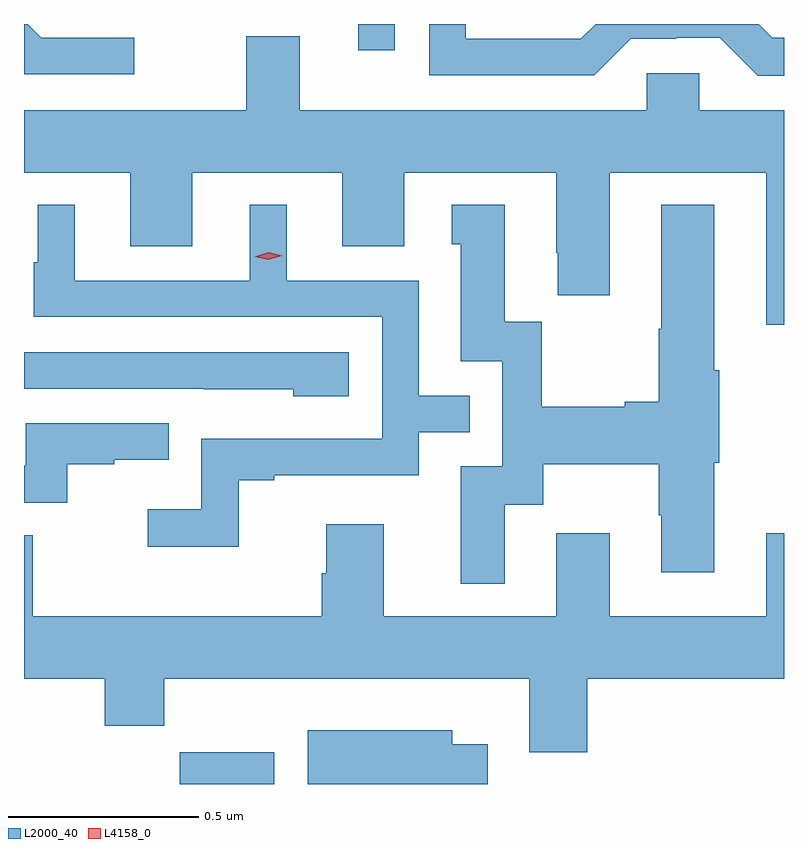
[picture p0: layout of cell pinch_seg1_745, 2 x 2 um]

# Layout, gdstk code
import gdstk
lib = gdstk.Library(unit=1e-6, precision=1e-09)
def R(c, l, rs):  # rectangles x0, y0, x1, y1
    for r in rs: c.add(gdstk.rectangle(r[:2], r[2:], *l))
def P(c, l, *ps):  # polygons
    for p in ps: c.add(gdstk.Polygon(p, *l))
L2000_40 = (2000, 40)
L4158_0 = (4158, 0)

pinch_seg1_745 = lib.new_cell('pinch_seg1_745')
R(pinch_seg1_745, L2000_40, [(670.612,526.147,670.861,526.23), (671.081,528.078,671.177,528.147)])
P(pinch_seg1_745, L2000_40, [(670.492,528.111),(670.248,528.111),(670.212,528.147),(670.202,528.147),(670.202,528.015),(670.492,528.015)],
  [(672.202,528.111),(672.171,528.111),(672.135,528.147),(671.706,528.147),(671.667,528.108),(671.364,528.108),(671.364,528.147),(671.268,528.147),(671.268,528.012),(671.703,528.012),(671.799,528.108),(671.918,528.108),(671.918,528.111),(672.033,528.111),(672.133,528.011),(672.202,528.011)],
  [(672.202,527.92),(671.979,527.92),(671.979,528.018),(671.841,528.018),(671.841,527.92),(670.927,527.92),(670.927,528.115),(670.787,528.115),(670.787,527.92),(670.202,527.92),(670.202,527.756),(670.481,527.756),(670.481,527.562),(670.645,527.562),(670.645,527.756),(671.039,527.756),(671.039,527.562),(671.203,527.562),(671.203,527.756),(671.603,527.756),(671.603,527.545),(671.606,527.545),(671.606,527.433),(671.743,527.433),(671.743,527.756),(672.155,527.756),(672.155,527.355),(672.202,527.355)],
  [(670.767,526.947),(670.861,526.947),(670.861,526.959),(671.241,526.959),(671.241,527.073),(671.375,527.073),(671.375,527.169),(671.241,527.169),(671.241,527.472),(670.894,527.472),(670.894,527.671),(670.796,527.671),(670.796,527.472),(670.336,527.472),(670.336,527.671),(670.238,527.671),(670.238,527.52),(670.227,527.52),(670.227,527.376),(671.145,527.376),(671.145,527.055),(670.668,527.055),(670.668,526.87),(670.527,526.87),(670.527,526.772),(670.767,526.772)],
  [(671.467,526.882),(671.569,526.882),(671.569,526.988),(671.872,526.988),(671.872,526.854),(671.879,526.854),(671.879,526.704),(672.019,526.704),(672.019,526.992),(672.032,526.992),(672.032,527.236),(672.019,527.236),(672.019,527.671),(671.879,527.671),(671.879,527.345),(671.872,527.345),(671.872,527.153),(671.783,527.153),(671.783,527.14),(671.565,527.14),(671.565,527.363),(671.467,527.363),(671.467,527.671),(671.327,527.671),(671.327,527.568),(671.351,527.568),(671.351,527.259),(671.46,527.259),(671.46,526.983),(671.351,526.983),(671.351,526.674),(671.467,526.674)],
  [(671.056,527.283),(670.202,527.283),(670.202,527.187),(670.675,527.187),(670.675,527.186),(670.911,527.186),(670.911,527.168),(671.056,527.168)],
  [(670.316,526.989),(670.439,526.989),(670.439,527),(670.583,527),(670.583,527.097),(670.206,527.097),(670.206,526.985),(670.202,526.985),(670.202,526.887),(670.316,526.887)],
  [(671.684,526.424),(672.202,526.424),(672.202,526.807),(672.155,526.807),(672.155,526.588),(671.743,526.588),(671.743,526.807),(671.603,526.807),(671.603,526.588),(671.149,526.588),(671.149,526.831),(670.997,526.831),(670.997,526.701),(670.985,526.701),(670.985,526.588),(670.225,526.588),(670.225,526.802),(670.202,526.802),(670.202,526.424),(670.415,526.424),(670.415,526.3),(670.571,526.3),(670.571,526.424),(671.531,526.424),(671.531,526.23),(671.684,526.23)],
  [(671.422,526.252),(671.329,526.252),(671.329,526.288),(670.949,526.288),(670.949,526.147),(671.422,526.147)])
P(pinch_seg1_745, L4158_0, [(670.845,527.526),(670.809,527.534),(670.809,527.535),(670.809,527.535),(670.845,527.546),(670.881,527.537),(670.881,527.537),(670.881,527.537)])

lib.write_gds('pinch_seg1_745.gds')
